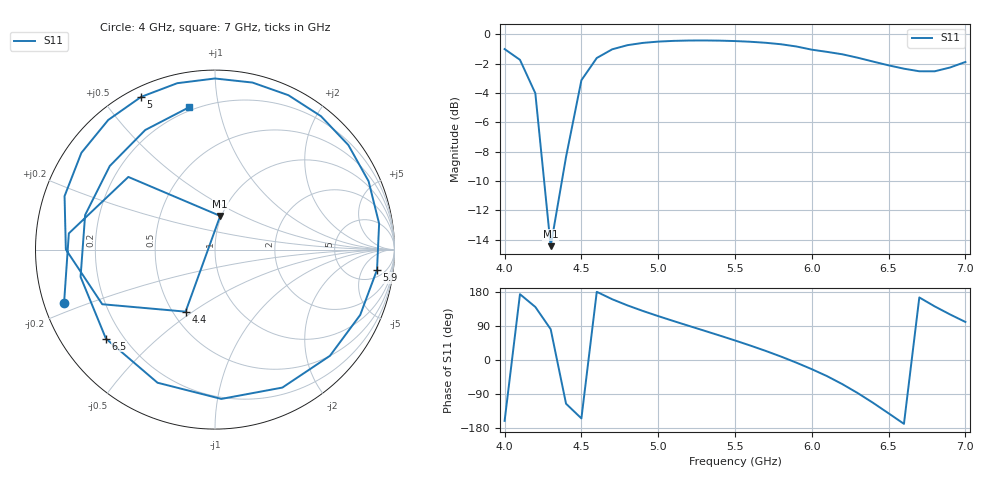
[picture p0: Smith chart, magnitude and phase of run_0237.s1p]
! Touchstone file exported from HFSS 2024.2.0
!  File:  C:/Users/wsak9/Desktop/Sim Fast/Widenad Patch/WP_AI_V1_sweep.aedt
!  Generated:  12:55:12 AM Oct 14, 2026
!  Design:  A1_model
!  Project:  WP_AI_V1_sweep
!  Setup:  Setup1
!  Solution:  Sweep
! Variables:
!  Air_gap = 2.31mm
!  Curve_Amp1 = 1.89
!  Curve_len1 = 1
!  Curve_pos = 12.92mm
!  Extra = 1.32mm
!  H_sub = 0.79mm
!  L_Patch = 21.84mm
!  L_Patch1 = 13.46mm
!  Sx = 0.74mm
!  Sy = 4.19mm
!  WS = 0.8mm
!  W_Patch = 21.43mm
!  W_Patch1 = 12.14mm
!Data is not renormalized
# GHz S MA
! Terminal data exported
! Port[1] = 1
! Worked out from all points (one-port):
!   31 points, 4 GHz to 7 GHz, reference per port
!   lowest |S11| = -14.4 dB at 4.3 GHz (marker M1), VSWR 1.47
!   |S11| at or under -10 dB: 4.257 GHz to 4.373 GHz (115.4 MHz wide, 2.67 % of centre)
!   S11 on the Smith chart (normalised r, x): 4 GHz: 0.06, -0.17; 4.4 GHz: 0.58, -0.47; 5 GHz: 0.04, +0.63; 5.9 GHz: 8, -10; 6.5 GHz: 0.14, -0.35; 7 GHz: 0.18, +0.82
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4  0.8915 -160.6
4.1  0.8193 173.7
4.2  0.6301 140.0
4.3  0.1897 81.2
4.4  0.3825 -115.4
4.5  0.6981 -154.2
4.6  0.831 179.9
4.7  0.8896 160.4
4.8  0.9192 144.1
4.9  0.9357 129.5
5  0.9453 115.8
5.2  0.9533 90.0
5.3  0.9538 77.3
5.5  0.9493 51.6
5.7  0.9366 24.0
5.8  0.9258 9.0
5.9  0.9097 -7.1
6  0.8872 -24.2
6.1  0.8719 -42.7
6.2  0.8555 -64.0
6.3  0.8327 -87.6
6.4  0.8079 -113.4
6.5  0.7845 -140.7
6.6  0.7642 -168.5
6.7  0.7489 165.1
6.8  0.7488 141.5
6.9  0.7714 120.3
7  0.8056 100.4
